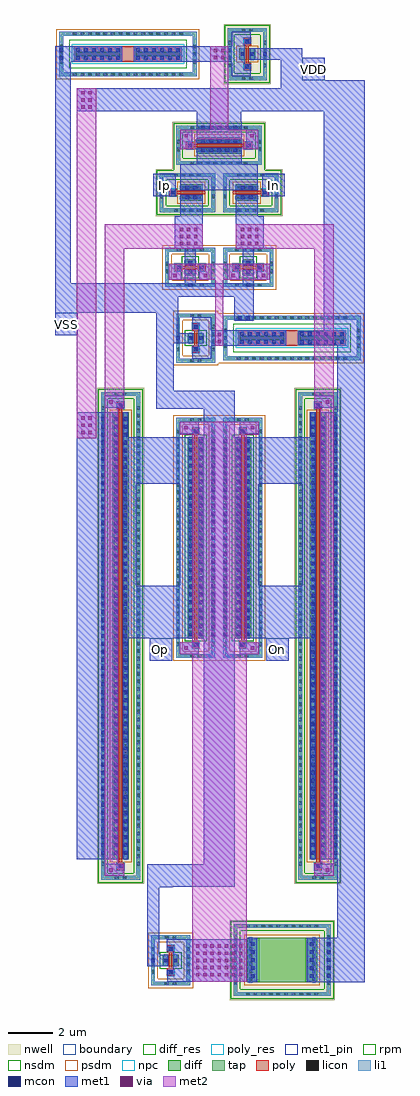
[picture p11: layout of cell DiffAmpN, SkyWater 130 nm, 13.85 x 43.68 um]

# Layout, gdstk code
from math import pi, radians
import gdstk
lib = gdstk.Library(unit=1e-6, precision=1e-09)
def R(c, l, rs):  # rectangles x0, y0, x1, y1
    for r in rs: c.add(gdstk.rectangle(r[:2], r[2:], *l))
def A(c, l, x, y, w, h, nx, ny, dx, dy):  # array of equal rectangles
    R(c, l, [(x+i*dx, y+j*dy, x+i*dx+w, y+j*dy+h) for i in range(nx) for j in range(ny)])
nwell = (64, 20)
diff_res = (65, 13)
diff = (65, 20)
tap = (65, 44)
poly_res = (66, 13)
poly = (66, 20)
licon = (66, 44)
li1 = (67, 20)
mcon = (67, 44)
met1_pin = (68, 16)
met1 = (68, 20)
via = (68, 44)
met2 = (69, 20)
rpm = (86, 20)
nsdm = (93, 44)
psdm = (94, 20)
npc = (95, 20)
boundary = (235, 4)

sky130_fd_pr__nfet_01v8_ = lib.new_cell('sky130_fd_pr__nfet_01v8_QWUGQF')
R(sky130_fd_pr__nfet_01v8_, diff, [(-0.365,-0.25,0.365,0.25)])
R(sky130_fd_pr__nfet_01v8_, tap, [(-0.875,-1.12,0.875,-0.95), (-0.875,-0.95,-0.705,0.95), (0.705,-0.95,0.875,0.95), (-0.875,0.95,0.875,1.12)])
R(sky130_fd_pr__nfet_01v8_, poly, [(-0.165,-0.69,0.165,-0.36), (-0.075,-0.36,0.075,0.36), (-0.165,0.36,0.165,0.69)])
A(sky130_fd_pr__nfet_01v8_, licon, -0.875, -0.595, 0.17, 0.17, 1, 4, 0, 0.34)
A(sky130_fd_pr__nfet_01v8_, licon, 0.705, -0.595, 0.17, 0.17, 1, 4, 0, 0.34)
R(sky130_fd_pr__nfet_01v8_, licon, [(-0.255,-1.12,-0.085,-0.95), (0.085,-1.12,0.255,-0.95), (-0.085,-0.61,0.085,-0.44), (-0.305,-0.085,-0.135,0.085), (0.135,-0.085,0.305,0.085), (-0.085,0.44,0.085,0.61), (-0.255,0.95,-0.085,1.12), (0.085,0.95,0.255,1.12)])
R(sky130_fd_pr__nfet_01v8_, li1, [(-0.875,-1.12,0.875,-0.95), (-0.875,-0.95,-0.705,0.95), (0.705,-0.95,0.875,0.95), (-0.165,-0.61,0.165,-0.44), (-0.305,-0.27,-0.135,0.27), (0.135,-0.27,0.305,0.27), (-0.165,0.44,0.165,0.61), (-0.875,0.95,0.875,1.12)])
R(sky130_fd_pr__nfet_01v8_, mcon, [(-0.085,-0.61,0.085,-0.44), (-0.305,-0.085,-0.135,0.085), (0.135,-0.085,0.305,0.085), (-0.085,0.44,0.085,0.61)])
R(sky130_fd_pr__nfet_01v8_, met1, [(-0.145,-0.64,0.145,-0.41), (-0.335,-0.25,-0.105,0.25), (0.105,-0.25,0.335,0.25), (-0.145,0.41,0.145,0.64)])
R(sky130_fd_pr__nfet_01v8_, nsdm, [(-0.49,-0.375,0.49,0.375)])
R(sky130_fd_pr__nfet_01v8_, psdm, [(-1,-1.245,1,-0.825), (-1,-0.825,-0.58,0.825), (0.58,-0.825,1,0.825), (-1,0.825,1,1.245)])
R(sky130_fd_pr__nfet_01v8_, npc, [(-0.185,-0.71,0.185,-0.34), (-0.185,0.34,0.185,0.71)])
R(sky130_fd_pr__nfet_01v8_, boundary, [(-0.79,-1.035,0.79,1.035)])

c_sky130_fd_pr__nfet_01v8_ = lib.new_cell('sky130_fd_pr__nfet_01v8_4A3DHF')
R(c_sky130_fd_pr__nfet_01v8_, diff, [(-0.365,-0.225,0.365,0.225)])
R(c_sky130_fd_pr__nfet_01v8_, tap, [(-0.875,-1.095,0.875,-0.925), (-0.875,-0.925,-0.705,0.925), (0.705,-0.925,0.875,0.925), (-0.875,0.925,0.875,1.095)])
R(c_sky130_fd_pr__nfet_01v8_, poly, [(-0.165,-0.665,0.165,-0.335), (-0.075,-0.335,0.075,0.335), (-0.165,0.335,0.165,0.665)])
A(c_sky130_fd_pr__nfet_01v8_, licon, -0.875, -0.595, 0.17, 0.17, 1, 4, 0, 0.34)
A(c_sky130_fd_pr__nfet_01v8_, licon, 0.705, -0.595, 0.17, 0.17, 1, 4, 0, 0.34)
R(c_sky130_fd_pr__nfet_01v8_, licon, [(-0.255,-1.095,-0.085,-0.925), (0.085,-1.095,0.255,-0.925), (-0.085,-0.585,0.085,-0.415), (-0.305,-0.085,-0.135,0.085), (0.135,-0.085,0.305,0.085), (-0.085,0.415,0.085,0.585), (-0.255,0.925,-0.085,1.095), (0.085,0.925,0.255,1.095)])
R(c_sky130_fd_pr__nfet_01v8_, li1, [(-0.875,-1.095,0.875,-0.925), (-0.875,-0.925,-0.705,0.925), (0.705,-0.925,0.875,0.925), (-0.165,-0.585,0.165,-0.415), (-0.305,-0.245,-0.135,0.245), (0.135,-0.245,0.305,0.245), (-0.165,0.415,0.165,0.585), (-0.875,0.925,0.875,1.095)])
R(c_sky130_fd_pr__nfet_01v8_, mcon, [(-0.085,-0.585,0.085,-0.415), (-0.305,-0.085,-0.135,0.085), (0.135,-0.085,0.305,0.085), (-0.085,0.415,0.085,0.585)])
R(c_sky130_fd_pr__nfet_01v8_, met1, [(-0.145,-0.615,0.145,-0.385), (-0.335,-0.225,-0.105,0.225), (0.105,-0.225,0.335,0.225), (-0.145,0.385,0.145,0.615)])
R(c_sky130_fd_pr__nfet_01v8_, nsdm, [(-0.49,-0.35,0.49,0.35)])
R(c_sky130_fd_pr__nfet_01v8_, psdm, [(-1,-1.22,1,-0.8), (-1,-0.8,-0.58,0.8), (0.58,-0.8,1,0.8), (-1,0.8,1,1.22)])
R(c_sky130_fd_pr__nfet_01v8_, npc, [(-0.185,-0.685,0.185,-0.315), (-0.185,0.315,0.185,0.685)])
R(c_sky130_fd_pr__nfet_01v8_, boundary, [(-0.79,-1.01,0.79,1.01)])

sky130_fd_pr__pfet_01v8_ = lib.new_cell('sky130_fd_pr__pfet_01v8_CNF2QQ')
R(sky130_fd_pr__pfet_01v8_, nwell, [(-1.055,-1.42,1.055,1.42)])
R(sky130_fd_pr__pfet_01v8_, diff, [(-0.365,-0.68,0.365,0.32)])
R(sky130_fd_pr__pfet_01v8_, tap, [(-0.875,-1.24,0.875,-1.07), (-0.875,-1.07,-0.705,1.07), (0.705,-1.07,0.875,1.07), (-0.875,1.07,0.875,1.24)])
R(sky130_fd_pr__pfet_01v8_, poly, [(-0.075,-0.81,0.075,0.475), (-0.165,0.475,0.165,0.805)])
A(sky130_fd_pr__pfet_01v8_, licon, -0.305, -0.605, 0.17, 0.17, 1, 3, 0, 0.34)
A(sky130_fd_pr__pfet_01v8_, licon, 0.135, -0.605, 0.17, 0.17, 1, 3, 0, 0.34)
A(sky130_fd_pr__pfet_01v8_, licon, -0.875, -0.595, 0.17, 0.17, 1, 4, 0, 0.34)
A(sky130_fd_pr__pfet_01v8_, licon, 0.705, -0.595, 0.17, 0.17, 1, 4, 0, 0.34)
R(sky130_fd_pr__pfet_01v8_, licon, [(-0.255,-1.24,-0.085,-1.07), (0.085,-1.24,0.255,-1.07), (-0.085,0.555,0.085,0.725), (-0.255,1.07,-0.085,1.24), (0.085,1.07,0.255,1.24)])
R(sky130_fd_pr__pfet_01v8_, li1, [(-0.875,-1.24,0.875,-1.07), (-0.875,-1.07,-0.705,1.07), (0.705,-1.07,0.875,1.07), (-0.305,-0.7,-0.135,0.34), (0.135,-0.7,0.305,0.34), (-0.165,0.555,0.165,0.725), (-0.875,1.07,0.875,1.24)])
R(sky130_fd_pr__pfet_01v8_, mcon, [(-0.305,-0.445,-0.135,-0.275), (0.135,-0.445,0.305,-0.275), (-0.305,-0.085,-0.135,0.085), (0.135,-0.085,0.305,0.085), (-0.085,0.555,0.085,0.725)])
R(sky130_fd_pr__pfet_01v8_, met1, [(-0.335,-0.68,-0.105,0.32), (0.105,-0.68,0.335,0.32), (-0.145,0.525,0.145,0.755)])
R(sky130_fd_pr__pfet_01v8_, nsdm, [(-1,-1.365,1,-0.945), (-1,-0.945,-0.58,0.945), (0.58,-0.945,1,0.945), (-1,0.945,1,1.365)])
R(sky130_fd_pr__pfet_01v8_, psdm, [(-0.49,-0.805,0.49,0.445)])
R(sky130_fd_pr__pfet_01v8_, npc, [(-0.185,0.455,0.185,0.825)])
R(sky130_fd_pr__pfet_01v8_, boundary, [(-0.79,-1.155,0.79,1.155)])

c_sky130_fd_pr__pfet_01v8_ = lib.new_cell('sky130_fd_pr__pfet_01v8_Q8B58K')
R(c_sky130_fd_pr__pfet_01v8_, nwell, [(-1.055,-2.095,1.055,2.095)])
R(c_sky130_fd_pr__pfet_01v8_, diff, [(-0.365,-1,0.365,1)])
R(c_sky130_fd_pr__pfet_01v8_, tap, [(-0.875,-1.915,0.875,-1.745), (-0.875,-1.745,-0.705,1.745), (0.705,-1.745,0.875,1.745), (-0.875,1.745,0.875,1.915)])
R(c_sky130_fd_pr__pfet_01v8_, poly, [(-0.165,-1.485,0.165,-1.155), (-0.075,-1.155,0.075,1.155), (-0.165,1.155,0.165,1.485)])
A(c_sky130_fd_pr__pfet_01v8_, licon, -0.875, -1.275, 0.17, 0.17, 1, 8, 0, 0.34)
A(c_sky130_fd_pr__pfet_01v8_, licon, 0.705, -1.275, 0.17, 0.17, 1, 8, 0, 0.34)
A(c_sky130_fd_pr__pfet_01v8_, licon, -0.305, -0.935, 0.17, 0.17, 1, 6, 0, 0.34)
A(c_sky130_fd_pr__pfet_01v8_, licon, 0.135, -0.935, 0.17, 0.17, 1, 6, 0, 0.34)
R(c_sky130_fd_pr__pfet_01v8_, licon, [(-0.255,-1.915,-0.085,-1.745), (0.085,-1.915,0.255,-1.745), (-0.085,-1.405,0.085,-1.235), (-0.085,1.235,0.085,1.405), (-0.255,1.745,-0.085,1.915), (0.085,1.745,0.255,1.915)])
R(c_sky130_fd_pr__pfet_01v8_, li1, [(-0.875,-1.915,0.875,-1.745), (-0.875,-1.745,-0.705,1.745), (0.705,-1.745,0.875,1.745), (-0.165,-1.405,0.165,-1.235), (-0.305,-1.02,-0.135,1.02), (0.135,-1.02,0.305,1.02), (-0.165,1.235,0.165,1.405), (-0.875,1.745,0.875,1.915)])
A(c_sky130_fd_pr__pfet_01v8_, mcon, -0.305, -0.805, 0.17, 0.17, 1, 5, 0, 0.36)
A(c_sky130_fd_pr__pfet_01v8_, mcon, 0.135, -0.805, 0.17, 0.17, 1, 5, 0, 0.36)
R(c_sky130_fd_pr__pfet_01v8_, mcon, [(-0.085,-1.405,0.085,-1.235), (-0.085,1.235,0.085,1.405)])
R(c_sky130_fd_pr__pfet_01v8_, met1, [(-0.145,-1.435,0.145,-1.205), (-0.335,-1,-0.105,1), (0.105,-1,0.335,1), (-0.145,1.205,0.145,1.435)])
R(c_sky130_fd_pr__pfet_01v8_, nsdm, [(-1,-2.04,1,-1.62), (-1,-1.62,-0.58,1.62), (0.58,-1.62,1,1.62), (-1,1.62,1,2.04)])
R(c_sky130_fd_pr__pfet_01v8_, psdm, [(-0.49,-1.125,0.49,1.125)])
R(c_sky130_fd_pr__pfet_01v8_, npc, [(-0.185,-1.505,0.185,-1.135), (-0.185,1.135,0.185,1.505)])
R(c_sky130_fd_pr__pfet_01v8_, boundary, [(-0.79,-1.83,0.79,1.83)])

c_sky130_fd_pr__nfet_01v8__ = lib.new_cell('sky130_fd_pr__nfet_01v8_76US65')
R(c_sky130_fd_pr__nfet_01v8__, diff, [(-0.365,-4.5,0.365,4.5)])
R(c_sky130_fd_pr__nfet_01v8__, tap, [(-0.875,-5.37,0.875,-5.2), (-0.875,-5.2,-0.705,5.2), (0.705,-5.2,0.875,5.2), (-0.875,5.2,0.875,5.37)])
R(c_sky130_fd_pr__nfet_01v8__, poly, [(-0.165,-4.94,0.165,-4.61), (-0.075,-4.61,0.075,4.61), (-0.165,4.61,0.165,4.94)])
A(c_sky130_fd_pr__nfet_01v8__, licon, -0.875, -4.845, 0.17, 0.17, 1, 29, 0, 0.34)
A(c_sky130_fd_pr__nfet_01v8__, licon, 0.705, -4.845, 0.17, 0.17, 1, 29, 0, 0.34)
A(c_sky130_fd_pr__nfet_01v8__, licon, -0.305, -4.335, 0.17, 0.17, 1, 26, 0, 0.34)
A(c_sky130_fd_pr__nfet_01v8__, licon, 0.135, -4.335, 0.17, 0.17, 1, 26, 0, 0.34)
R(c_sky130_fd_pr__nfet_01v8__, licon, [(-0.255,-5.37,-0.085,-5.2), (0.085,-5.37,0.255,-5.2), (-0.085,-4.86,0.085,-4.69), (-0.085,4.69,0.085,4.86), (-0.255,5.2,-0.085,5.37), (0.085,5.2,0.255,5.37)])
R(c_sky130_fd_pr__nfet_01v8__, li1, [(-0.875,-5.37,0.875,-5.2), (-0.875,-5.2,-0.705,5.2), (0.705,-5.2,0.875,5.2), (-0.165,-4.86,0.165,-4.69), (-0.305,-4.52,-0.135,4.52), (0.135,-4.52,0.305,4.52), (-0.165,4.69,0.165,4.86), (-0.875,5.2,0.875,5.37)])
A(c_sky130_fd_pr__nfet_01v8__, mcon, -0.305, -4.405, 0.17, 0.17, 1, 25, 0, 0.36)
A(c_sky130_fd_pr__nfet_01v8__, mcon, 0.135, -4.405, 0.17, 0.17, 1, 25, 0, 0.36)
R(c_sky130_fd_pr__nfet_01v8__, mcon, [(-0.085,-4.86,0.085,-4.69), (-0.085,4.69,0.085,4.86)])
R(c_sky130_fd_pr__nfet_01v8__, met1, [(-0.145,-4.89,0.145,-4.66), (-0.335,-4.5,-0.105,4.5), (0.105,-4.5,0.335,4.5), (-0.145,4.66,0.145,4.89)])
R(c_sky130_fd_pr__nfet_01v8__, nsdm, [(-0.49,-4.625,0.49,4.625)])
R(c_sky130_fd_pr__nfet_01v8__, psdm, [(-1,-5.495,1,-5.075), (-1,-5.075,-0.58,5.075), (0.58,-5.075,1,5.075), (-1,5.075,1,5.495)])
R(c_sky130_fd_pr__nfet_01v8__, npc, [(-0.185,-4.96,0.185,-4.59), (-0.185,4.59,0.185,4.96)])
R(c_sky130_fd_pr__nfet_01v8__, boundary, [(-0.79,-5.285,0.79,5.285)])

c_sky130_fd_pr__pfet_01v8__ = lib.new_cell('sky130_fd_pr__pfet_01v8_DMZPWZ')
R(c_sky130_fd_pr__pfet_01v8__, nwell, [(-1.055,-11.095,1.055,11.095)])
R(c_sky130_fd_pr__pfet_01v8__, diff, [(-0.365,-10,0.365,10)])
R(c_sky130_fd_pr__pfet_01v8__, tap, [(-0.875,-10.915,0.875,-10.745), (-0.875,-10.745,-0.705,10.745), (0.705,-10.745,0.875,10.745), (-0.875,10.745,0.875,10.915)])
R(c_sky130_fd_pr__pfet_01v8__, poly, [(-0.165,-10.485,0.165,-10.155), (-0.075,-10.155,0.075,10.155), (-0.165,10.155,0.165,10.485)])
A(c_sky130_fd_pr__pfet_01v8__, licon, -0.875, -10.285, 0.17, 0.17, 1, 61, 0, 0.34)
A(c_sky130_fd_pr__pfet_01v8__, licon, 0.705, -10.285, 0.17, 0.17, 1, 61, 0, 0.34)
A(c_sky130_fd_pr__pfet_01v8__, licon, -0.305, -9.775, 0.17, 0.17, 1, 58, 0, 0.34)
A(c_sky130_fd_pr__pfet_01v8__, licon, 0.135, -9.775, 0.17, 0.17, 1, 58, 0, 0.34)
R(c_sky130_fd_pr__pfet_01v8__, licon, [(-0.255,-10.915,-0.085,-10.745), (0.085,-10.915,0.255,-10.745), (-0.085,-10.405,0.085,-10.235), (-0.085,10.235,0.085,10.405), (-0.255,10.745,-0.085,10.915), (0.085,10.745,0.255,10.915)])
R(c_sky130_fd_pr__pfet_01v8__, li1, [(-0.875,-10.915,0.875,-10.745), (-0.875,-10.745,-0.705,10.745), (0.705,-10.745,0.875,10.745), (-0.165,-10.405,0.165,-10.235), (-0.305,-10.02,-0.135,10.02), (0.135,-10.02,0.305,10.02), (-0.165,10.235,0.165,10.405), (-0.875,10.745,0.875,10.915)])
A(c_sky130_fd_pr__pfet_01v8__, mcon, -0.305, -9.805, 0.17, 0.17, 1, 55, 0, 0.36)
A(c_sky130_fd_pr__pfet_01v8__, mcon, 0.135, -9.805, 0.17, 0.17, 1, 55, 0, 0.36)
R(c_sky130_fd_pr__pfet_01v8__, mcon, [(-0.085,-10.405,0.085,-10.235), (-0.085,10.235,0.085,10.405)])
R(c_sky130_fd_pr__pfet_01v8__, met1, [(-0.145,-10.435,0.145,-10.205), (-0.335,-10,-0.105,10), (0.105,-10,0.335,10), (-0.145,10.205,0.145,10.435)])
R(c_sky130_fd_pr__pfet_01v8__, nsdm, [(-1,-11.04,1,-10.62), (-1,-10.62,-0.58,10.62), (0.58,-10.62,1,10.62), (-1,10.62,1,11.04)])
R(c_sky130_fd_pr__pfet_01v8__, psdm, [(-0.49,-10.125,0.49,10.125)])
R(c_sky130_fd_pr__pfet_01v8__, npc, [(-0.185,-10.505,0.185,-10.135), (-0.185,10.135,0.185,10.505)])
R(c_sky130_fd_pr__pfet_01v8__, boundary, [(-0.79,-10.83,0.79,10.83)])

sky130_fd_pr__res_high_p = lib.new_cell('sky130_fd_pr__res_high_po_0p69_FYNTE5')
R(sky130_fd_pr__res_high_p, tap, [(-0.995,-3.075,0.995,-2.905), (-0.995,-2.905,-0.825,2.905), (0.825,-2.905,0.995,2.905), (-0.995,2.905,0.995,3.075)])
R(sky130_fd_pr__res_high_p, poly_res, [(-0.345,-0.345,0.345,0.345)])
R(sky130_fd_pr__res_high_p, poly, [(-0.345,-2.425,0.345,2.425)])
A(sky130_fd_pr__res_high_p, licon, -0.425, -3.075, 0.17, 0.17, 3, 2, 0.34, 5.98)
A(sky130_fd_pr__res_high_p, licon, -0.995, -2.465, 0.17, 0.17, 1, 15, 0, 0.34)
A(sky130_fd_pr__res_high_p, licon, 0.825, -2.465, 0.17, 0.17, 1, 15, 0, 0.34)
R(sky130_fd_pr__res_high_p, licon, [(-0.095,-2.345,0.095,-0.345), (-0.095,0.345,0.095,2.345)])
R(sky130_fd_pr__res_high_p, li1, [(-0.995,-3.075,0.995,-2.905), (-0.995,-2.905,-0.825,2.905), (0.825,-2.905,0.995,2.905), (-0.345,-2.425,0.345,-0.265), (-0.345,0.265,0.345,2.425), (-0.995,2.905,0.995,3.075)])
A(sky130_fd_pr__res_high_p, mcon, -0.265, -2.33, 0.17, 0.17, 1, 6, 0, 0.36)
A(sky130_fd_pr__res_high_p, mcon, 0.095, -2.33, 0.17, 0.17, 1, 6, 0, 0.36)
A(sky130_fd_pr__res_high_p, mcon, -0.265, 0.355, 0.17, 0.17, 1, 6, 0, 0.36)
A(sky130_fd_pr__res_high_p, mcon, 0.095, 0.355, 0.17, 0.17, 1, 6, 0, 0.36)
R(sky130_fd_pr__res_high_p, met1, [(-0.295,-2.395,0.295,-0.29), (-0.295,0.29,0.295,2.395)])
R(sky130_fd_pr__res_high_p, rpm, [(-0.635,-2.625,0.635,2.625)])
R(sky130_fd_pr__res_high_p, psdm, [(-1.12,-3.2,1.12,3.2)])
R(sky130_fd_pr__res_high_p, npc, [(-0.44,-2.52,0.44,2.52)])
R(sky130_fd_pr__res_high_p, boundary, [(-0.91,-2.99,0.91,2.99)])

c_sky130_fd_pr__pfet_01v8___ = lib.new_cell('sky130_fd_pr__pfet_01v8_W8AVJ8')
R(c_sky130_fd_pr__pfet_01v8___, nwell, [(-1.055,-1.345,1.055,1.345)])
R(c_sky130_fd_pr__pfet_01v8___, diff, [(-0.365,-0.25,0.365,0.25)])
R(c_sky130_fd_pr__pfet_01v8___, tap, [(-0.875,-1.165,0.875,-0.995), (-0.875,-0.995,-0.705,0.995), (0.705,-0.995,0.875,0.995), (-0.875,0.995,0.875,1.165)])
R(c_sky130_fd_pr__pfet_01v8___, poly, [(-0.165,-0.735,0.165,-0.405), (-0.075,-0.405,0.075,0.405), (-0.165,0.405,0.165,0.735)])
A(c_sky130_fd_pr__pfet_01v8___, licon, -0.875, -0.595, 0.17, 0.17, 1, 4, 0, 0.34)
A(c_sky130_fd_pr__pfet_01v8___, licon, 0.705, -0.595, 0.17, 0.17, 1, 4, 0, 0.34)
R(c_sky130_fd_pr__pfet_01v8___, licon, [(-0.255,-1.165,-0.085,-0.995), (0.085,-1.165,0.255,-0.995), (-0.085,-0.655,0.085,-0.485), (-0.305,-0.085,-0.135,0.085), (0.135,-0.085,0.305,0.085), (-0.085,0.485,0.085,0.655), (-0.255,0.995,-0.085,1.165), (0.085,0.995,0.255,1.165)])
R(c_sky130_fd_pr__pfet_01v8___, li1, [(-0.875,-1.165,0.875,-0.995), (-0.875,-0.995,-0.705,0.995), (0.705,-0.995,0.875,0.995), (-0.165,-0.655,0.165,-0.485), (-0.305,-0.27,-0.135,0.27), (0.135,-0.27,0.305,0.27), (-0.165,0.485,0.165,0.655), (-0.875,0.995,0.875,1.165)])
R(c_sky130_fd_pr__pfet_01v8___, mcon, [(-0.085,-0.655,0.085,-0.485), (-0.305,-0.085,-0.135,0.085), (0.135,-0.085,0.305,0.085), (-0.085,0.485,0.085,0.655)])
R(c_sky130_fd_pr__pfet_01v8___, met1, [(-0.145,-0.685,0.145,-0.455), (-0.335,-0.25,-0.105,0.25), (0.105,-0.25,0.335,0.25), (-0.145,0.455,0.145,0.685)])
R(c_sky130_fd_pr__pfet_01v8___, nsdm, [(-1,-1.29,1,-0.87), (-1,-0.87,-0.58,0.87), (0.58,-0.87,1,0.87), (-1,0.87,1,1.29)])
R(c_sky130_fd_pr__pfet_01v8___, psdm, [(-0.49,-0.375,0.49,0.375)])
R(c_sky130_fd_pr__pfet_01v8___, npc, [(-0.185,-0.755,0.185,-0.385), (-0.185,0.385,0.185,0.755)])
R(c_sky130_fd_pr__pfet_01v8___, boundary, [(-0.79,-1.08,0.79,1.08)])

c_sky130_fd_pr__nfet_01v8___ = lib.new_cell('sky130_fd_pr__nfet_01v8_NUHUYP')
R(c_sky130_fd_pr__nfet_01v8___, diff, [(-0.365,-4.5,0.365,4.5)])
R(c_sky130_fd_pr__nfet_01v8___, tap, [(-0.875,-5.37,0.875,-5.2), (-0.875,-5.2,-0.705,5.2), (0.705,-5.2,0.875,5.2), (-0.875,5.2,0.875,5.37)])
R(c_sky130_fd_pr__nfet_01v8___, poly, [(-0.165,-4.94,0.165,-4.61), (-0.075,-4.61,0.075,4.61), (-0.165,4.61,0.165,4.94)])
A(c_sky130_fd_pr__nfet_01v8___, licon, -0.875, -4.845, 0.17, 0.17, 1, 29, 0, 0.34)
A(c_sky130_fd_pr__nfet_01v8___, licon, 0.705, -4.845, 0.17, 0.17, 1, 29, 0, 0.34)
A(c_sky130_fd_pr__nfet_01v8___, licon, -0.305, -4.335, 0.17, 0.17, 1, 26, 0, 0.34)
A(c_sky130_fd_pr__nfet_01v8___, licon, 0.135, -4.335, 0.17, 0.17, 1, 26, 0, 0.34)
R(c_sky130_fd_pr__nfet_01v8___, licon, [(-0.255,-5.37,-0.085,-5.2), (0.085,-5.37,0.255,-5.2), (-0.085,-4.86,0.085,-4.69), (-0.085,4.69,0.085,4.86), (-0.255,5.2,-0.085,5.37), (0.085,5.2,0.255,5.37)])
R(c_sky130_fd_pr__nfet_01v8___, li1, [(-0.875,-5.37,0.875,-5.2), (-0.875,-5.2,-0.705,5.2), (0.705,-5.2,0.875,5.2), (-0.165,-4.86,0.165,-4.69), (-0.305,-4.52,-0.135,4.52), (0.135,-4.52,0.305,4.52), (-0.165,4.69,0.165,4.86), (-0.875,5.2,0.875,5.37)])
A(c_sky130_fd_pr__nfet_01v8___, mcon, -0.305, -4.405, 0.17, 0.17, 1, 25, 0, 0.36)
A(c_sky130_fd_pr__nfet_01v8___, mcon, 0.135, -4.405, 0.17, 0.17, 1, 25, 0, 0.36)
R(c_sky130_fd_pr__nfet_01v8___, mcon, [(-0.085,-4.86,0.085,-4.69), (-0.085,4.69,0.085,4.86)])
R(c_sky130_fd_pr__nfet_01v8___, met1, [(-0.145,-4.89,0.145,-4.66), (-0.335,-4.5,-0.105,4.5), (0.105,-4.5,0.335,4.5), (-0.145,4.66,0.145,4.89)])
R(c_sky130_fd_pr__nfet_01v8___, nsdm, [(-0.49,-4.625,0.49,4.625)])
R(c_sky130_fd_pr__nfet_01v8___, psdm, [(-1,-5.495,1,-5.075), (-1,-5.075,-0.58,5.075), (0.58,-5.075,1,5.075), (-1,5.075,1,5.495)])
R(c_sky130_fd_pr__nfet_01v8___, npc, [(-0.185,-4.96,0.185,-4.59), (-0.185,4.59,0.185,4.96)])
R(c_sky130_fd_pr__nfet_01v8___, boundary, [(-0.79,-5.285,0.79,5.285)])

sky130_fd_pr__res_generi = lib.new_cell('sky130_fd_pr__res_generic_pd_5TM2MT')
R(sky130_fd_pr__res_generi, nwell, [(-1.79,-2.355,1.79,2.355)])
R(sky130_fd_pr__res_generi, diff_res, [(-1,-1.05,1,1.05)])
R(sky130_fd_pr__res_generi, diff, [(-1,-1.565,1,1.565)])
R(sky130_fd_pr__res_generi, tap, [(-1.61,-2.175,1.61,-2.005), (-1.61,-2.005,-1.44,2.005), (1.44,-2.005,1.61,2.005), (-1.61,2.005,1.61,2.175)])
A(sky130_fd_pr__res_generi, licon, -1.105, -2.175, 0.17, 0.17, 7, 2, 0.34, 4.18)
A(sky130_fd_pr__res_generi, licon, -1.61, -1.615, 0.17, 0.17, 1, 10, 0, 0.34)
A(sky130_fd_pr__res_generi, licon, 1.44, -1.615, 0.17, 0.17, 1, 10, 0, 0.34)
A(sky130_fd_pr__res_generi, licon, -0.935, -1.505, 0.17, 0.17, 6, 2, 0.34, 2.84)
R(sky130_fd_pr__res_generi, li1, [(-1.61,-2.175,1.61,-2.005), (-1.61,-2.005,-1.44,2.005), (1.44,-2.005,1.61,2.005), (-1.02,-1.505,1.02,-1.335), (-0.94,-1.335,0.94,-1.135), (-0.94,1.135,0.94,1.335), (-1.02,1.335,1.02,1.505), (-1.61,2.005,1.61,2.175)])
A(sky130_fd_pr__res_generi, mcon, -0.805, -1.405, 0.17, 0.17, 5, 2, 0.36, 2.64)
R(sky130_fd_pr__res_generi, met1, [(-1,-1.535,1,-1.105), (-1,1.105,1,1.535)])
R(sky130_fd_pr__res_generi, nsdm, [(-1.735,-2.3,1.735,-1.88), (-1.735,-1.88,-1.315,1.88), (1.315,-1.88,1.735,1.88), (-1.735,1.88,1.735,2.3)])
R(sky130_fd_pr__res_generi, psdm, [(-1.125,-1.69,1.125,1.69)])
R(sky130_fd_pr__res_generi, boundary, [(-1.525,-2.09,1.525,2.09)])

diffampn = lib.new_cell('DiffAmpN')
R(diffampn, li1, [(13.44,-6.62,13.61,-4.68), (5.57,-5.89,5.74,-5.45), (3.33,-1.12,3.5,18.83), (13.74,-1.12,13.91,18.83), (8.27,8.77,8.44,17.71), (8.8,8.77,8.97,17.71), (6.69,21.99,6.86,22.38), (9.31,23.01,10.14,23.18), (7.1,24.47,7.53,24.64), (9.71,24.47,10.14,24.64), (7.66,31.51,9.57,31.68), (1.46,34.58,1.63,35.21), (10.58,34.67,10.75,35.12)])
A(diffampn, mcon, 13.44, -6.455, 0.17, 0.17, 1, 5, 0, 0.36)
A(diffampn, mcon, 3.33, -0.95, 0.17, 0.17, 1, 55, 0, 0.36)
A(diffampn, mcon, 13.74, -0.95, 0.17, 0.17, 1, 55, 0, 0.36)
A(diffampn, mcon, 8.27, 8.835, 0.17, 0.17, 1, 25, 0, 0.36)
A(diffampn, mcon, 8.8, 8.835, 0.17, 0.17, 1, 25, 0, 0.36)
A(diffampn, mcon, 7.81, 31.51, 0.17, 0.17, 5, 1, 0.36, 0)
R(diffampn, mcon, [(5.57,-5.755,5.74,-5.585), (6.69,22.1,6.86,22.27), (9.46,23.01,9.63,23.18), (9.82,23.01,9.99,23.18), (7.23,24.47,7.4,24.64), (9.84,24.47,10.01,24.64), (1.46,34.63,1.63,34.8), (10.58,34.81,10.75,34.98), (1.46,34.99,1.63,35.16)])
R(diffampn, met1_pin, [(5.51,7.74,6.51,8.74), (10.73,7.74,11.73,8.74), (1.28,22.31,2.28,23.31), (5.67,28.53,6.67,29.53), (10.55,28.53,11.55,29.53), (12.33,33.72,13.33,34.72)])
R(diffampn, met1, [(12.54,-6.65,15.13,-4.65), (6.3,-6.62,9.9,-6.08), (6.55,-6.08,9.9,-5.26), (5.39,-5.92,6.34,-5.42), (5.39,-5.42,5.94,-2.39), (6.28,-5.26,9.9,-4.72), (13.91,-4.65,15.13,-1.15), (5.39,-2.39,6.53,-2.37), (5.39,-2.37,9.31,-1.37), (3.5,-1.89,4.37,-1.35), (12.87,-1.89,13.74,-1.35), (7.93,-1.37,9.31,8.74), (2.24,-1.15,4.1,18.86), (13.14,-1.15,15.13,18.86), (5.51,7.74,6.51,8.74), (10.73,7.74,11.73,8.74), (6.86,8.04,7.71,8.58), (9.53,8.04,10.38,8.58), (4.31,8.74,7.46,11.11), (7.67,8.74,9.57,17.74), (9.78,8.74,12.93,11.11), (4.31,11.11,4.91,15.67), (6.86,11.11,7.46,15.67), (9.78,11.11,10.38,15.67), (12.33,11.11,12.93,15.67), (4.31,15.67,7.46,17.74), (9.78,15.67,12.93,17.74), (7.93,17.74,9.31,19.01), (6.86,17.9,7.71,18.44), (9.53,17.9,10.38,18.44), (13.91,18.86,15.13,22.23), (5.8,19.01,9.31,19.83), (3.5,19.06,4.37,19.6), (12.87,19.06,13.74,19.6), (5.8,19.83,6.58,21.96), (7.4,21.26,8.27,21.8), (7.67,21.8,8.27,21.84), (7.67,21.84,11.61,22.53), (5.8,21.96,7.46,22.41), (13.29,22.23,15.13,32.33), (1.28,22.31,2.28,23.31), (5.8,22.41,6.78,23.31), (7.67,22.53,8.27,22.57), (7.4,22.57,8.27,23.11), (9.28,22.95,10.17,24.03), (1.28,23.31,6.78,24.03), (1.28,24.03,10.17,24.63), (1.28,24.63,6.78,24.64), (7.07,24.63,10.17,24.64), (1.28,24.64,1.97,34.55), (7.07,24.64,7.57,25.24), (9.67,24.64,10.17,25.24), (6.37,24.8,6.91,25.51), (7.73,24.8,8.27,25.51), (8.97,24.8,9.51,25.51), (10.33,24.8,10.87,25.51), (7.07,25.45,7.57,26.18), (9.67,25.45,10.17,26.18), (6.62,26.18,7.87,27.64), (9.35,26.18,10.6,27.64), (6.87,27.64,7.87,28.36), (9.35,27.64,10.35,28.36), (7.07,28.36,7.57,28.59), (9.35,28.36,10.17,28.59), (5.67,28.53,6.67,29.53), (10.55,28.53,11.55,29.53), (6.87,28.8,10.35,29.96), (7.61,29.96,9.62,30.7), (6.87,30.64,7.41,31.51), (9.82,30.64,10.36,31.51), (7.61,30.91,9.62,31.86), (7.61,31.86,9.61,32.33), (2.24,32.33,9.61,32.34), (11.86,32.33,15.13,32.34), (2.24,32.34,15.13,33.36), (11.38,33.36,15.13,33.72), (11.38,33.72,13.33,34.64), (9.17,33.9,10.02,34.44), (9.17,34.44,9.77,34.55), (1.28,34.55,4.27,35.24), (4.8,34.55,9.77,35.24), (9.98,34.64,13.33,34.72), (9.98,34.72,12.33,35.15), (9.17,35.24,9.77,35.35), (9.17,35.35,10.02,35.89)])
A(diffampn, via, 7.585, -6.385, 0.15, 0.15, 7, 5, 0.32, 0.32)
A(diffampn, via, 2.44, 17.885, 0.15, 0.15, 1, 3, 0, 0.32)
A(diffampn, via, 2.76, 17.885, 0.15, 0.15, 1, 3, 0, 0.32)
A(diffampn, via, 6.85, 26.335, 0.15, 0.15, 3, 3, 0.32, 0.32)
A(diffampn, via, 9.58, 26.335, 0.15, 0.15, 3, 3, 0.32, 0.32)
A(diffampn, via, 2.44, 32.45, 0.15, 0.15, 1, 3, 0, 0.32)
A(diffampn, via, 2.76, 32.45, 0.15, 0.15, 1, 3, 0, 0.32)
R(diffampn, via, [(3.695,-1.695,3.845,-1.545), (13.395,-1.695,13.545,-1.545), (7.055,8.235,7.205,8.385), (10.035,8.235,10.185,8.385), (7.055,18.095,7.205,18.245), (10.035,18.095,10.185,18.245), (3.695,19.255,3.845,19.405), (13.395,19.255,13.545,19.405), (8.545,21.95,8.695,22.1), (8.545,22.27,8.695,22.42), (6.565,24.915,6.715,25.065), (7.925,24.915,8.075,25.065), (9.165,24.915,9.315,25.065), (10.525,24.915,10.675,25.065), (7.065,31.165,7.215,31.315), (10.015,31.165,10.165,31.315), (8.38,34.66,8.53,34.81), (8.7,34.66,8.85,34.81), (8.38,34.98,8.53,35.13), (8.7,34.98,8.85,35.13)])
R(diffampn, met2, [(7.4,-6.62,9.84,8.04), (3.5,-1.89,4.37,-1.35), (12.87,-1.89,13.74,-1.35), (3.5,-1.35,4.1,19.01), (13.14,-1.35,13.74,19.01), (6.86,8.04,10.38,8.58), (7.4,8.58,9.84,17.85), (2.24,17.7,3.11,33.36), (6.86,17.85,10.38,18.44), (3.5,19.01,4.37,26.18), (12.87,19.01,13.74,26.18), (8.44,21.84,8.8,24.8), (6.37,24.8,10.87,25.51), (3.5,26.18,7.87,27.28), (9.35,26.18,13.74,27.28), (6.87,30.64,7.56,31.08), (9.67,30.64,10.36,31.08), (6.87,31.08,10.36,31.51), (8.21,31.51,9.02,35.24)])
R(diffampn, nsdm, [(8.555,27.695,8.665,29.695), (6.575,29.695,10.655,29.805)])
R(diffampn, psdm, [(8.565,7.745,8.675,18.735), (8.565,21.065,8.675,23.305), (8.565,24.345,8.675,26.345)])
diffampn.add(gdstk.Reference(sky130_fd_pr__nfet_01v8_, (6.445,-5.67), rotation=pi))
diffampn.add(gdstk.Reference(c_sky130_fd_pr__nfet_01v8_, (7.565,22.185), rotation=pi))
diffampn.add(gdstk.Reference(sky130_fd_pr__nfet_01v8_, (7.32,25.345), rotation=3*pi/2))
diffampn.add(gdstk.Reference(sky130_fd_pr__pfet_01v8_, (7.19,28.695), rotation=pi/2))
diffampn.add(gdstk.Reference(c_sky130_fd_pr__pfet_01v8_, (8.615,30.805), rotation=3*pi/2))
diffampn.add(gdstk.Reference(c_sky130_fd_pr__nfet_01v8__, (7.565,13.24), rotation=pi))
diffampn.add(gdstk.Reference(c_sky130_fd_pr__pfet_01v8__, (4.205,8.855), rotation=pi))
diffampn.add(gdstk.Reference(sky130_fd_pr__res_high_p, (4.535,34.895), rotation=3*pi/2))
diffampn.add(gdstk.Reference(c_sky130_fd_pr__pfet_01v8___, (9.875,34.895), rotation=pi))
diffampn.add(gdstk.Reference(sky130_fd_pr__nfet_01v8_, (9.92,25.345), rotation=3*pi/2))
diffampn.add(gdstk.Reference(sky130_fd_pr__pfet_01v8_, (10.03,28.695), rotation=3*pi/2))
diffampn.add(gdstk.Reference(c_sky130_fd_pr__nfet_01v8___, (9.675,13.24), rotation=pi))
diffampn.add(gdstk.Reference(c_sky130_fd_pr__pfet_01v8__, (13.035,8.855), rotation=pi))
diffampn.add(gdstk.Reference(sky130_fd_pr__res_high_p, (11.875,22.185), rotation=3*pi/2))
diffampn.add(gdstk.Reference(sky130_fd_pr__res_generi, (11.435,-5.65), rotation=3*pi/2))
diffampn.add(gdstk.Label('VDD', (12.83,34.22), layer=68, texttype=5))
diffampn.add(gdstk.Label('On', (11.23,8.24), layer=68, texttype=5))
diffampn.add(gdstk.Label('Op', (6.01,8.24), layer=68, texttype=5))
diffampn.add(gdstk.Label('Ip', (6.17,29.03), layer=68, texttype=5))
diffampn.add(gdstk.Label('In', (11.05,29.03), layer=68, texttype=5))
diffampn.add(gdstk.Label('VSS', (1.78,22.81), layer=68, texttype=5))

lib.write_gds('DiffAmpN.gds')
